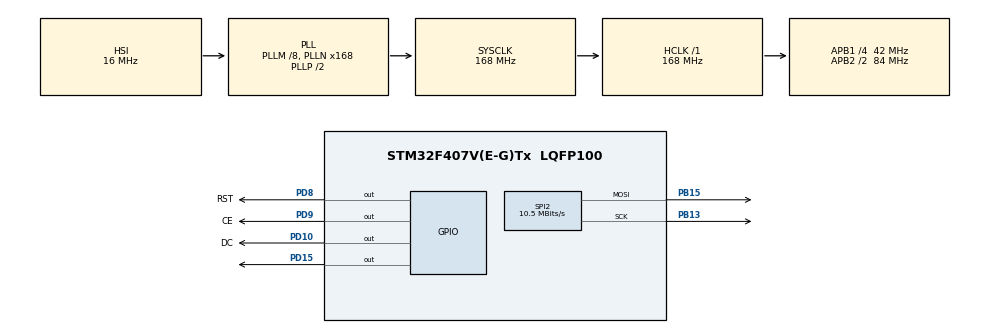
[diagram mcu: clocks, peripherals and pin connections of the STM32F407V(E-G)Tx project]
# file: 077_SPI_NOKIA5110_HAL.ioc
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Dma.Request0=SPI2_TX
Dma.SPI2_TX.0.Direction=DMA_MEMORY_TO_PERIPH
Dma.SPI2_TX.0.FIFOMode=DMA_FIFOMODE_DISABLE
Dma.SPI2_TX.0.Instance=DMA1_Stream4
Dma.SPI2_TX.0.MemDataAlignment=DMA_MDATAALIGN_BYTE
Dma.SPI2_TX.0.MemInc=DMA_MINC_ENABLE
Dma.SPI2_TX.0.Mode=DMA_NORMAL
Dma.SPI2_TX.0.PeriphDataAlignment=DMA_PDATAALIGN_BYTE
Dma.SPI2_TX.0.PeriphInc=DMA_PINC_DISABLE
Dma.SPI2_TX.0.Priority=DMA_PRIORITY_LOW
Mcu.Family=STM32F4
Mcu.Name=STM32F407V(E-G)Tx
Mcu.Package=LQFP100
NVIC.DMA1_Stream4_IRQn=true\:0\:0\:false\:false\:true\:false\:true\:true
NVIC.PriorityGroup=NVIC_PRIORITYGROUP_0
PB13.Mode=TX_Only_Simplex_Unidirect_Master
PB13.Signal=SPI2_SCK
PB15.Mode=TX_Only_Simplex_Unidirect_Master
PB15.Signal=SPI2_MOSI
PD10.GPIO_Label=DC
PD10.Signal=GPIO_Output
PD15.Signal=GPIO_Output
PD8.GPIO_Label=RST
PD8.Signal=GPIO_Output
PD9.GPIO_Label=CE
PD9.Signal=GPIO_Output
PH0-OSC_IN.Mode=HSE-External-Oscillator
PH0-OSC_IN.Signal=RCC_OSC_IN
PH1-OSC_OUT.Mode=HSE-External-Oscillator
PH1-OSC_OUT.Signal=RCC_OSC_OUT
ProjectManager.HeapSize=0x200
ProjectManager.StackSize=0x400
ProjectManager.TargetToolchain=STM32CubeIDE
RCC.48MHZClocksFreq_Value=48000000
RCC.AHBFreq_Value=168000000
RCC.APB1CLKDivider=RCC_HCLK_DIV4
RCC.APB1Freq_Value=42000000
RCC.APB1TimFreq_Value=84000000
RCC.APB2CLKDivider=RCC_HCLK_DIV2
RCC.APB2Freq_Value=84000000
RCC.APB2TimFreq_Value=168000000
RCC.CortexFreq_Value=168000000
RCC.HCLKFreq_Value=168000000
RCC.HSE_VALUE=8000000
RCC.HSI_VALUE=16000000
RCC.LSE_VALUE=32768
RCC.PLLM=8
RCC.PLLN=168
RCC.PLLQ=7
RCC.SYSCLKFreq_VALUE=168000000
RCC.SYSCLKSource=RCC_SYSCLKSOURCE_PLLCLK
RCC.VCOOutputFreq_Value=336000000
SPI2.BaudRatePrescaler=SPI_BAUDRATEPRESCALER_4
SPI2.CalculateBaudRate=10.5 MBits/s
SPI2.Direction=SPI_DIRECTION_2LINES
SPI2.Mode=SPI_MODE_MASTER
SPI2.VirtualType=VM_MASTER
board=STM32F407G-DISC1

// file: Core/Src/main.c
/* USER CODE BEGIN Header */
/**
  ******************************************************************************
  * @file           : main.c
  * @brief          : Main program body
  ******************************************************************************
  * @attention
  *
  * Copyright (c) 2024 STMicroelectronics.
  * All rights reserved.
  *
  * This software is licensed under terms that can be found in the LICENSE file
  * in the root directory of this software component.
  * If no LICENSE file comes with this software, it is provided AS-IS.
  *
  ******************************************************************************
  */
/* USER CODE END Header */
#include "main.h"

/* USER CODE BEGIN Includes */

#include "Nokia5110.h"

/* USER CODE END Includes */

SPI_HandleTypeDef hspi2;
DMA_HandleTypeDef hdma_spi2_tx;

void SystemClock_Config(void);
static void MX_GPIO_Init(void);
static void MX_DMA_Init(void);
static void MX_SPI2_Init(void);

int main(void)
{

  /* MCU Configuration--------------------------------------------------------*/

  /* Reset of all peripherals, Initializes the Flash interface and the Systick. */
  HAL_Init();

  /* Configure the system clock */
  SystemClock_Config();

  /* Initialize all configured peripherals */
  MX_GPIO_Init();
  MX_DMA_Init();
  MX_SPI2_Init();
  /* USER CODE BEGIN 2 */

  if(Nokia5110_Init(&hspi2, &hdma_spi2_tx));

  /* USER CODE END 2 */

  /* Infinite loop */
  while (1)
  {
    /* USER CODE BEGIN 3 */
	  Nokia5110_setPixel(0, 0, 1);
	  Nokia5110_setPixel(1, 0, 1);
	  Nokia5110_setPixel(2, 0, 1);
	  Nokia5110_setPixel(3, 0, 1);
	  Nokia5110_setPixel(4, 0, 1);
	  Nokia5110_setPixel(0, 1, 1);
	  Nokia5110_setPixel(0, 2, 1);
	  Nokia5110_setPixel(0, 3, 1);
	  Nokia5110_setPixel(1, 3, 1);
	  Nokia5110_setPixel(2, 3, 1);
	  Nokia5110_setPixel(3, 3, 1);
	  Nokia5110_setPixel(4, 3, 1);
	  Nokia5110_setPixel(0, 4, 1);
	  Nokia5110_setPixel(0, 5, 1);
	  Nokia5110_setPixel(0, 6, 1);
	  Nokia5110_Update();
  }
  /* USER CODE END 3 */
}

void SystemClock_Config(void)
{
  RCC_OscInitTypeDef RCC_OscInitStruct = {0};
  RCC_ClkInitTypeDef RCC_ClkInitStruct = {0};

  /** Configure the main internal regulator output voltage
  */
  __HAL_RCC_PWR_CLK_ENABLE();
  __HAL_PWR_VOLTAGESCALING_CONFIG(PWR_REGULATOR_VOLTAGE_SCALE1);

  /** Initializes the RCC Oscillators according to the specified parameters
  * in the RCC_OscInitTypeDef structure.
  */
  RCC_OscInitStruct.OscillatorType = RCC_OSCILLATORTYPE_HSI;
  RCC_OscInitStruct.HSIState = RCC_HSI_ON;
  RCC_OscInitStruct.HSICalibrationValue = RCC_HSICALIBRATION_DEFAULT;
  RCC_OscInitStruct.PLL.PLLState = RCC_PLL_ON;
  RCC_OscInitStruct.PLL.PLLSource = RCC_PLLSOURCE_HSI;
  RCC_OscInitStruct.PLL.PLLM = 8;
  RCC_OscInitStruct.PLL.PLLN = 168;
  RCC_OscInitStruct.PLL.PLLP = RCC_PLLP_DIV2;
  RCC_OscInitStruct.PLL.PLLQ = 7;
  if (HAL_RCC_OscConfig(&RCC_OscInitStruct) != HAL_OK)
  {
    Error_Handler();
  }

  /** Initializes the CPU, AHB and APB buses clocks
  */
  RCC_ClkInitStruct.ClockType = RCC_CLOCKTYPE_HCLK|RCC_CLOCKTYPE_SYSCLK
                              |RCC_CLOCKTYPE_PCLK1|RCC_CLOCKTYPE_PCLK2;
  RCC_ClkInitStruct.SYSCLKSource = RCC_SYSCLKSOURCE_PLLCLK;
  RCC_ClkInitStruct.AHBCLKDivider = RCC_SYSCLK_DIV1;
  RCC_ClkInitStruct.APB1CLKDivider = RCC_HCLK_DIV4;
  RCC_ClkInitStruct.APB2CLKDivider = RCC_HCLK_DIV2;

  if (HAL_RCC_ClockConfig(&RCC_ClkInitStruct, FLASH_LATENCY_5) != HAL_OK)
  {
    Error_Handler();
  }
}

static void MX_SPI2_Init(void)
{

  /* SPI2 parameter configuration*/
  hspi2.Instance = SPI2;
  hspi2.Init.Mode = SPI_MODE_MASTER;
  hspi2.Init.Direction = SPI_DIRECTION_2LINES;
  hspi2.Init.DataSize = SPI_DATASIZE_8BIT;
  hspi2.Init.CLKPolarity = SPI_POLARITY_LOW;
  hspi2.Init.CLKPhase = SPI_PHASE_1EDGE;
  hspi2.Init.NSS = SPI_NSS_SOFT;
  hspi2.Init.BaudRatePrescaler = SPI_BAUDRATEPRESCALER_4;
  hspi2.Init.FirstBit = SPI_FIRSTBIT_MSB;
  hspi2.Init.TIMode = SPI_TIMODE_DISABLE;
  hspi2.Init.CRCCalculation = SPI_CRCCALCULATION_DISABLE;
  hspi2.Init.CRCPolynomial = 10;
  if (HAL_SPI_Init(&hspi2) != HAL_OK)
  {
    Error_Handler();
  }

}

static void MX_DMA_Init(void)
{

  /* DMA controller clock enable */
  __HAL_RCC_DMA1_CLK_ENABLE();

  /* DMA interrupt init */
  /* DMA1_Stream4_IRQn interrupt configuration */
  HAL_NVIC_SetPriority(DMA1_Stream4_IRQn, 0, 0);
  HAL_NVIC_EnableIRQ(DMA1_Stream4_IRQn);

}

static void MX_GPIO_Init(void)
{
  GPIO_InitTypeDef GPIO_InitStruct = {0};

  /* GPIO Ports Clock Enable */
  __HAL_RCC_GPIOH_CLK_ENABLE();
  __HAL_RCC_GPIOB_CLK_ENABLE();
  __HAL_RCC_GPIOD_CLK_ENABLE();

  /*Configure GPIO pin Output Level */
  HAL_GPIO_WritePin(GPIOD, RST_Pin|CE_Pin|DC_Pin|GPIO_PIN_15, GPIO_PIN_RESET);

  /*Configure GPIO pins : RST_Pin CE_Pin DC_Pin PD15 */
  GPIO_InitStruct.Pin = RST_Pin|CE_Pin|DC_Pin|GPIO_PIN_15;
  GPIO_InitStruct.Mode = GPIO_MODE_OUTPUT_PP;
  GPIO_InitStruct.Pull = GPIO_NOPULL;
  GPIO_InitStruct.Speed = GPIO_SPEED_FREQ_LOW;
  HAL_GPIO_Init(GPIOD, &GPIO_InitStruct);

}

void Error_Handler(void)
{
  __disable_irq();
  while (1)
  {
  }
}
